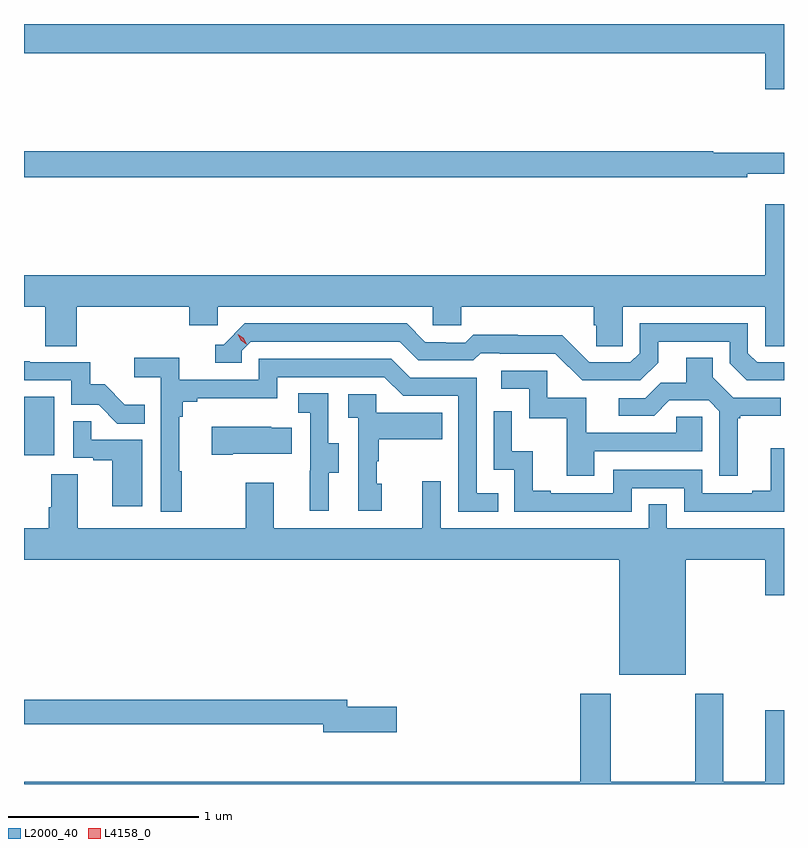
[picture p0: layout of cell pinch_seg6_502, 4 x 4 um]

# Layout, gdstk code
import gdstk
lib = gdstk.Library(unit=1e-6, precision=1e-09)
def R(c, l, rs):  # rectangles x0, y0, x1, y1
    for r in rs: c.add(gdstk.rectangle(r[:2], r[2:], *l))
def P(c, l, *ps):  # polygons
    for p in ps: c.add(gdstk.Polygon(p, *l))
L2000_40 = (2000, 40)
L4158_0 = (4158, 0)

pinch_seg6_502 = lib.new_cell('pinch_seg6_502')
R(pinch_seg6_502, L2000_40, [(832.434,921.246,832.594,921.553)])
P(pinch_seg6_502, L2000_40, [(836.434,923.515),(832.434,923.515),(832.434,923.36),(836.336,923.36),(836.336,923.172),(836.434,923.172)],
  [(836.24,922.727),(836.434,922.727),(836.434,922.837),(836.062,922.837),(836.062,922.844),(832.434,922.844),(832.434,922.708),(836.24,922.708)],
  [(832.712,922.028),(833.303,922.028),(833.303,921.93),(833.454,921.93),(833.454,922.028),(834.585,922.028),(834.585,921.93),(834.735,921.93),(834.735,922.028),(835.433,922.028),(835.433,921.93),(835.447,921.93),(835.447,921.82),(835.584,921.82),(835.584,922.028),(836.334,922.028),(836.334,921.82),(836.434,921.82),(836.434,922.567),(836.336,922.567),(836.336,922.192),(832.434,922.192),(832.434,922.028),(832.547,922.028),(832.547,921.82),(832.712,921.82)],
  [(835.771,921.733),(835.771,921.843),(836.148,921.843),(836.148,921.729),(836.238,921.639),(836.434,921.639),(836.434,921.735),(836.292,921.735),(836.244,921.783),(836.244,921.939),(835.674,921.939),(835.674,921.783),(835.626,921.735),(835.41,921.735),(835.268,921.877),(835.032,921.877),(835.032,921.88),(834.799,921.88),(834.757,921.837),(834.654,921.837),(834.654,921.84),(834.547,921.84),(834.448,921.939),(833.595,921.939),(833.484,921.828),(833.441,921.828),(833.441,921.732),(833.58,921.732),(833.58,921.795),(833.628,921.843),(834.411,921.843),(834.51,921.744),(834.799,921.744),(834.838,921.783),(834.937,921.783),(834.937,921.78),(835.23,921.78),(835.371,921.639),(835.677,921.639)],
  [(836.191,921.441),(836.203,921.441),(836.203,921.452),(836.416,921.452),(836.416,921.549),(836.166,921.549),(836.059,921.656),(836.059,921.758),(835.919,921.758),(835.919,921.626),(835.784,921.626),(835.704,921.546),(835.563,921.546),(835.563,921.453),(835.75,921.453),(835.831,921.534),(836.037,921.534),(836.094,921.477),(836.094,921.138),(836.191,921.138)],
  [(833.263,921.161),(833.251,921.161),(833.251,921.449),(833.27,921.449),(833.27,921.526),(833.347,921.526),(833.347,921.545),(833.766,921.545),(833.766,921.657),(834.33,921.657),(834.429,921.558),(834.72,921.558),(834.72,920.949),(834.929,920.949),(834.929,921.045),(834.816,921.045),(834.816,921.654),(834.466,921.654),(834.367,921.753),(833.67,921.753),(833.67,921.642),(833.252,921.642),(833.252,921.758),(833.013,921.758),(833.013,921.656),(833.154,921.656),(833.154,920.949),(833.263,920.949)],
  [(833.069,921.511),(832.965,921.511),(832.858,921.618),(832.782,921.618),(832.782,921.735),(832.463,921.735),(832.463,921.74),(832.434,921.74),(832.434,921.639),(832.683,921.639),(832.683,921.51),(832.827,921.51),(832.925,921.412),(833.069,921.412)],
  [(835.435,921.267),(836.004,921.267),(836.004,921.447),(835.867,921.447),(835.867,921.363),(835.393,921.363),(835.393,921.549),(835.188,921.549),(835.188,921.69),(834.945,921.69),(834.945,921.594),(835.092,921.594),(835.092,921.441),(835.291,921.441),(835.291,921.138),(835.435,921.138)],
  [(834.037,921.154),(834.091,921.154),(834.091,921.309),(834.036,921.309),(834.036,921.572),(833.877,921.572),(833.877,921.469),(833.94,921.469),(833.94,921.165),(833.939,921.165),(833.939,920.952),(834.037,920.952)],
  [(834.316,921.096),(834.291,921.096),(834.291,921.215),(834.301,921.215),(834.301,921.329),(834.635,921.329),(834.635,921.469),(834.288,921.469),(834.288,921.567),(834.141,921.567),(834.141,921.443),(834.192,921.443),(834.192,920.952),(834.316,920.952)],
  [(835.632,921.072),(835.908,921.072),(835.908,920.949),(836.434,920.949),(836.434,921.283),(836.363,921.283),(836.363,921.058),(836.267,921.058),(836.267,921.045),(836.004,921.045),(836.004,921.168),(835.536,921.168),(835.536,921.045),(835.207,921.045),(835.207,921.058),(835.112,921.058),(835.112,921.266),(835.002,921.266),(835.002,921.478),(834.906,921.478),(834.906,921.168),(835.014,921.168),(835.014,920.949),(835.632,920.949)],
  [(833.056,921.327),(832.787,921.327),(832.787,921.425),(832.692,921.425),(832.692,921.231),(832.799,921.231),(832.799,921.219),(832.898,921.219),(832.898,920.976),(833.056,920.976)],
  [(833.533,921.254),(833.843,921.254),(833.843,921.391),(833.735,921.391),(833.735,921.394),(833.421,921.394),(833.421,921.247),(833.533,921.247)],
  [(835.918,920.696),(836.336,920.696),(836.336,920.508),(836.434,920.508),(836.434,920.86),(835.818,920.86),(835.818,920.987),(835.722,920.987),(835.722,920.86),(834.627,920.86),(834.627,921.109),(834.53,921.109),(834.53,920.86),(833.749,920.86),(833.749,921.1),(833.602,921.1),(833.602,920.86),(832.717,920.86),(832.717,921.146),(832.577,921.146),(832.577,920.972),(832.565,920.972),(832.565,920.86),(832.434,920.86),(832.434,920.696),(835.568,920.696),(835.568,920.09),(835.918,920.09)],
  [(836.434,919.903),(836.336,919.903),(836.336,919.528),(836.113,919.528),(836.113,919.99),(835.966,919.99),(835.966,919.528),(835.521,919.528),(835.521,919.99),(835.361,919.99),(835.361,919.528),(832.434,919.528),(832.434,919.515),(836.434,919.515)],
  [(834.397,919.922),(834.136,919.922),(834.136,919.958),(832.434,919.958),(832.434,919.83),(834.008,919.83),(834.008,919.787),(834.397,919.787)])
P(pinch_seg6_502, L4158_0, [(833.605,921.83),(833.574,921.85),(833.558,921.882),(833.558,921.882),(833.558,921.882),(833.589,921.863),(833.606,921.83),(833.606,921.83)])

lib.write_gds('pinch_seg6_502.gds')
